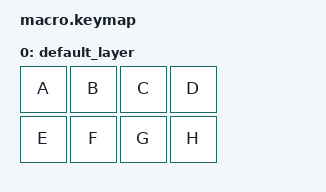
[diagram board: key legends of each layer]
#include <behaviors.dtsi>
#include <dt-bindings/zmk/keys.h>

/ {
    keymap {
        compatible = "zmk,keymap";

        default_layer {
// --------------------------------------------------------------------------------------------------------------------------------------------------------------------
// |   1   |    2    |    3    |    4    |
// |   5   |    6    |    7    |    8    |
            bindings = <
    &kp A    &kp B    &kp C    &kp D    
    &kp E    &kp F    &kp G    &kp H     
            >;
        };
    };
};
